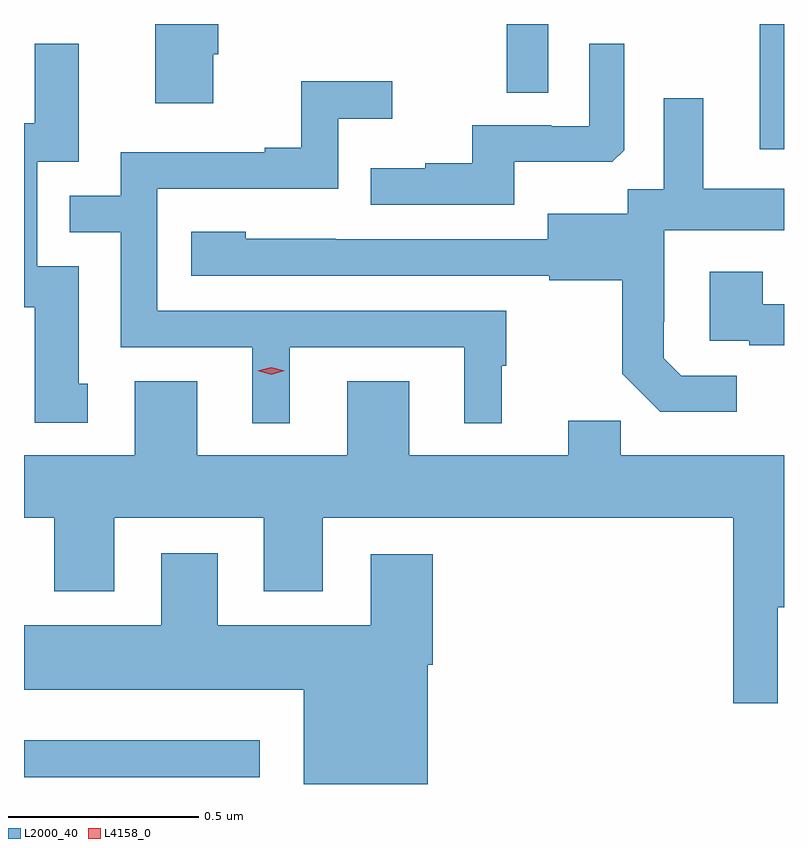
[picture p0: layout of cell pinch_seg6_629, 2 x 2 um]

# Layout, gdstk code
import gdstk
lib = gdstk.Library(unit=1e-6, precision=1e-09)
def R(c, l, rs):  # rectangles x0, y0, x1, y1
    for r in rs: c.add(gdstk.rectangle(r[:2], r[2:], *l))
def P(c, l, *ps):  # polygons
    for p in ps: c.add(gdstk.Polygon(p, *l))
L2000_40 = (2000, 40)
L4158_0 = (4158, 0)

pinch_seg6_629 = lib.new_cell('pinch_seg6_629')
R(pinch_seg6_629, L2000_40, [(443.011,990.609,443.632,990.706), (444.947,992.262,445.011,992.591), (444.282,992.41,444.39,992.591)])
P(pinch_seg6_629, L2000_40, [(443.509,992.511),(443.522,992.511),(443.522,992.591),(443.357,992.591),(443.357,992.382),(443.509,992.382)],
  [(443.179,991.644),(443.155,991.644),(443.155,991.953),(443.046,991.953),(443.046,992.229),(443.155,992.229),(443.155,992.539),(443.039,992.539),(443.039,992.33),(443.011,992.33),(443.011,991.845),(443.039,991.845),(443.039,991.542),(443.179,991.542)],
  [(444.301,992.228),(444.559,992.228),(444.591,992.259),(444.591,992.539),(444.498,992.539),(444.498,992.322),(444.398,992.322),(444.398,992.325),(444.191,992.325),(444.191,992.224),(444.067,992.224),(444.067,992.212),(443.923,992.212),(443.923,992.115),(444.301,992.115)],
  [(443.71,991.74),(444.17,991.74),(444.17,991.541),(444.268,991.541),(444.268,991.692),(444.28,991.692),(444.28,991.836),(443.361,991.836),(443.361,992.157),(443.838,992.157),(443.838,992.342),(443.98,992.342),(443.98,992.441),(443.74,992.441),(443.74,992.266),(443.645,992.266),(443.645,992.253),(443.265,992.253),(443.265,992.139),(443.131,992.139),(443.131,992.043),(443.265,992.043),(443.265,991.74),(443.612,991.74),(443.612,991.541),(443.71,991.541)],
  [(444.886,991.665),(444.741,991.665),(444.694,991.712),(444.694,991.807),(444.696,991.807),(444.696,992.048),(445.011,992.048),(445.011,992.158),(444.799,992.158),(444.799,992.395),(444.695,992.395),(444.695,992.156),(444.6,992.156),(444.6,992.092),(444.389,992.092),(444.389,992.025),(443.831,992.025),(443.831,992.026),(443.595,992.026),(443.595,992.044),(443.451,992.044),(443.451,991.929),(444.393,991.929),(444.393,991.917),(444.585,991.917),(444.585,991.671),(444.685,991.571),(444.886,991.571)],
  [(445.011,991.854),(444.955,991.854),(444.955,991.939),(444.815,991.939),(444.815,991.758),(444.919,991.758),(444.919,991.746),(445.011,991.746)],
  [(444.995,991.056),(445.011,991.056),(445.011,991.456),(444.581,991.456),(444.581,991.547),(444.443,991.547),(444.443,991.456),(444.025,991.456),(444.025,991.651),(443.861,991.651),(443.861,991.456),(443.467,991.456),(443.467,991.651),(443.303,991.651),(443.303,991.456),(443.011,991.456),(443.011,991.292),(443.09,991.292),(443.09,991.098),(443.248,991.098),(443.248,991.292),(443.642,991.292),(443.642,991.098),(443.797,991.098),(443.797,991.292),(444.877,991.292),(444.877,990.804),(444.995,990.804)],
  [(444.073,990.905),(444.086,990.905),(444.086,991.195),(443.924,991.195),(443.924,991.009),(443.521,991.009),(443.521,991.198),(443.372,991.198),(443.372,991.009),(443.011,991.009),(443.011,990.839),(443.747,990.839),(443.747,990.591),(444.073,990.591)])
P(pinch_seg6_629, L4158_0, [(443.661,991.668),(443.625,991.678),(443.625,991.678),(443.625,991.678),(443.661,991.688),(443.697,991.678),(443.697,991.678),(443.697,991.678)])

lib.write_gds('pinch_seg6_629.gds')
